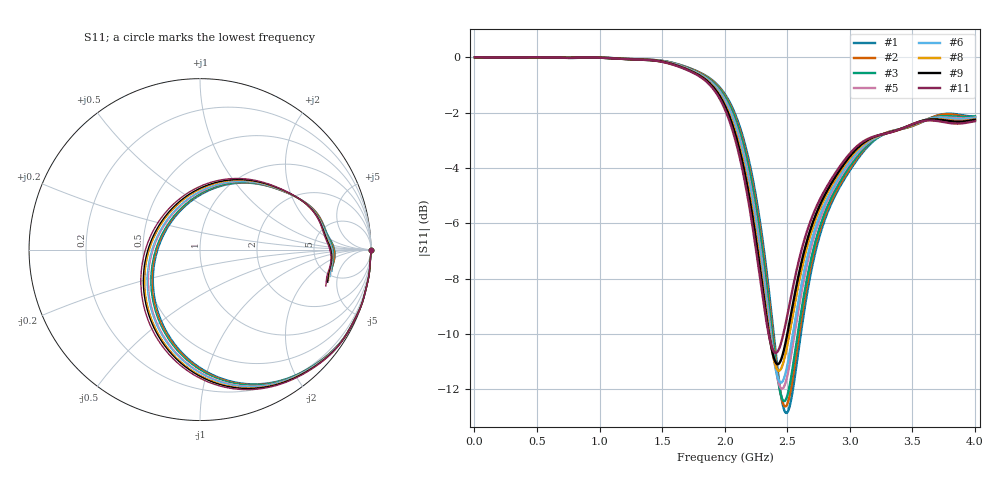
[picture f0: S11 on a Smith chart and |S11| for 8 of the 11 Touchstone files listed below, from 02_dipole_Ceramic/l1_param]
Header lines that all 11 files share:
! TOUCHSTONE file generated by CST MICROWAVE STUDIO
! Project name: AppElm_antenne_dipole_Alumina.cst
! Header version: 2018
! Port assignment regex: !\s*Touchstone port\s*([0-9]+)\s*=\s*(CST MWS port|CST DS port)\s*([0-9]+|Zmin|Zmax)\s*\(\"(.*)\"\)(\s*mode\s*([0-9]+))?.*
! Touchstone port assignment:
! Touchstone port 1 = CST MWS port 1 ("")
# GHz S MA R 50
Fixed: L = 33, e = 0.035, f = 2.45e+09, h = 1.6, i = 0.8, lambda = 122.449, ls = 30, wl = 1.7, ws = 80
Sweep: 4 MHz to 4 GHz
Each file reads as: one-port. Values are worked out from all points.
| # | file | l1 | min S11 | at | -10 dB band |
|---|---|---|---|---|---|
| 1 | AppElm_antenne_dipole_Alumina_1.s1p | 1.5 | -12.9 dB | 2.492 GHz | 217 MHz wide |
| 2 | AppElm_antenne_dipole_Alumina_2.s1p | 1.6 | -12.6 dB | 2.484 GHz | 210.1 MHz wide |
| 3 | AppElm_antenne_dipole_Alumina_3.s1p | 1.7 | -12.4 dB | 2.476 GHz | 204.8 MHz wide |
| 4 | AppElm_antenne_dipole_Alumina_4.s1p | 1.8 | -12.2 dB | 2.468 GHz | 197.2 MHz wide |
| 5 | AppElm_antenne_dipole_Alumina_5.s1p | 1.9 | -12.0 dB | 2.456 GHz | 189.1 MHz wide |
| 6 | AppElm_antenne_dipole_Alumina_6.s1p | 2 | -11.8 dB | 2.448 GHz | 180.2 MHz wide |
| 7 | AppElm_antenne_dipole_Alumina_7.s1p | 2.1 | -11.6 dB | 2.44 GHz | 170.6 MHz wide |
| 8 | AppElm_antenne_dipole_Alumina_8.s1p | 2.2 | -11.3 dB | 2.432 GHz | 160.1 MHz wide |
| 9 | AppElm_antenne_dipole_Alumina_9.s1p | 2.3 | -11.1 dB | 2.424 GHz | 146.5 MHz wide |
| 10 | AppElm_antenne_dipole_Alumina_10.s1p | 2.4 | -10.9 dB | 2.416 GHz | 133.4 MHz wide |
| 11 | AppElm_antenne_dipole_Alumina_11.s1p | 2.5 | -10.7 dB | 2.408 GHz | 118.5 MHz wide |
